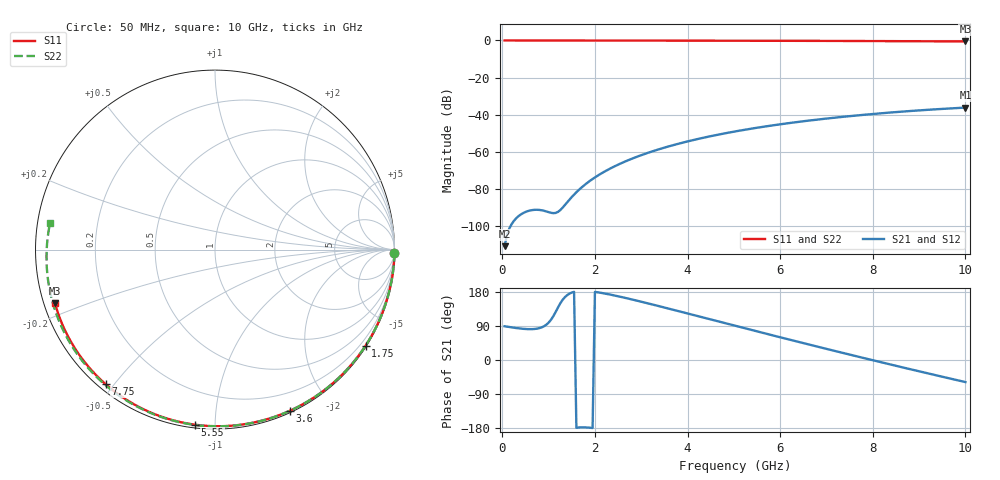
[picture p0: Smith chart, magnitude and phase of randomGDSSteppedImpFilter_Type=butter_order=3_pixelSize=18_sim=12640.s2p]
! freq	dB(S11)	phase(S11)	dB(S12)	phase(S12)
!  dB(S21)	phase(S21)	dB(S22)	phase(S22)
!S-par simulation data
#  GHz  S  DB  R 50
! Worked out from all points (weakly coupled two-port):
!   200 points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, 50 MHz to 10 GHz, reference 50 ohm
!   highest |S21| = -36.14 dB at 10 GHz (marker M1); lowest = -110.7 dB at 50 MHz (marker M2)
!   lowest |S11| = -0.5 dB at 10 GHz (marker M3), VSWR 32.46, Z = 1.58 - j8.1 ohm
!   |S11| at or under -10 dB: nowhere
!   |S22| runs from -0.6 to 0.0 dB; largest |S21 - S12| = 0
!   S11 on the Smith chart (normalised r, x): 50 MHz: open; 1.75 GHz: 0.03, -3.42; 3.6 GHz: 0.02, -1.57; 5.55 GHz: 0.02, -0.89; 7.75 GHz: 0.02, -0.48; 10 GHz: 0.03, -0.16
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0.05  -0.00 -0.9  -110.73 89.0  -110.73 89.0  -0.00 -1.0
0.8  -0.02 -15.1  -91.23 84.1  -91.23 84.1  -0.02 -16.6
1.2  -0.03 -22.5  -92.32 138.0  -92.32 138.0  -0.03 -24.7
1.65  -0.04 -30.8  -80.51 -178.1  -80.51 -178.1  -0.04 -33.8
1.7  -0.04 -31.7  -79.39 -177.7  -79.39 -177.7  -0.04 -34.8
1.75  -0.04 -32.6  -78.33 -177.6  -78.33 -177.6  -0.05 -35.8
2.05  -0.05 -38.0  -72.92 178.9  -72.92 178.9  -0.05 -41.8
2.25  -0.05 -41.6  -70.00 174.6  -70.00 174.6  -0.06 -45.8
2.45  -0.06 -45.2  -67.45 169.5  -67.45 169.5  -0.06 -49.7
2.9  -0.07 -53.1  -62.67 156.8  -62.67 156.8  -0.07 -58.4
3.4  -0.08 -61.7  -58.44 141.6  -58.44 141.6  -0.09 -67.9
3.6  -0.09 -65.1  -56.97 135.4  -56.97 135.4  -0.10 -71.7
4.3  -0.11 -76.7  -52.60 113.3  -52.60 113.3  -0.12 -84.6
5.05  -0.14 -88.7  -48.87 89.7  -48.87 89.7  -0.15 -98.2
5.55  -0.16 -96.5  -46.79 74.0  -46.79 74.0  -0.18 -107.0
6.1  -0.19 -104.9  -44.79 56.9  -44.79 56.9  -0.21 -116.7
6.7  -0.22 -113.8  -42.89 38.4  -42.89 38.4  -0.25 -127.2
7.75  -0.30 -129.1  -40.15 6.8  -40.15 6.8  -0.34 -145.7
8.35  -0.35 -137.7  -38.85 -10.9  -38.85 -10.9  -0.40 -156.7
9.2  -0.44 -149.9  -37.31 -35.6  -37.31 -35.6  -0.51 -172.8
9.6  -0.49 -155.7  -36.69 -47.0  -36.69 -47.0  -0.56 179.2
10  -0.54 -161.6  -36.14 -58.2  -36.14 -58.2  -0.62 170.8
